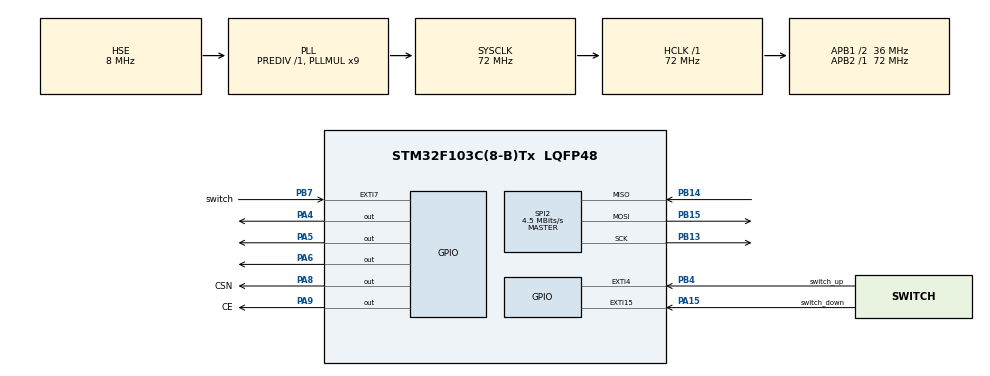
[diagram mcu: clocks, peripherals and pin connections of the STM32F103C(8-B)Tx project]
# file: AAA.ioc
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Mcu.Family=STM32F1
Mcu.Name=STM32F103C(8-B)Tx
Mcu.Package=LQFP48
NVIC.EXTI15_10_IRQn=true\:8\:0\:true\:false\:true\:true\:true\:true
NVIC.EXTI4_IRQn=true\:8\:0\:true\:false\:true\:true\:true\:true
NVIC.EXTI9_5_IRQn=true\:8\:0\:true\:false\:true\:true\:true\:true
NVIC.PriorityGroup=NVIC_PRIORITYGROUP_4
PA13.Mode=Serial_Wire
PA13.Signal=SYS_JTMS-SWDIO
PA14.Mode=Serial_Wire
PA14.Signal=SYS_JTCK-SWCLK
PA15.GPIO_Label=switch_down
PA15.GPIO_ModeDefaultEXTI=GPIO_MODE_IT_FALLING
PA15.GPIO_PuPd=GPIO_PULLUP
PA15.Signal=GPXTI15
PA4.Signal=GPIO_Output
PA5.Signal=GPIO_Output
PA6.Signal=GPIO_Output
PA8.GPIO_Label=CSN
PA8.Signal=GPIO_Output
PA9.GPIO_Label=CE
PA9.Signal=GPIO_Output
PB13.Mode=Full_Duplex_Master
PB13.Signal=SPI2_SCK
PB14.Mode=Full_Duplex_Master
PB14.Signal=SPI2_MISO
PB15.Mode=Full_Duplex_Master
PB15.Signal=SPI2_MOSI
PB4.GPIO_Label=switch_up
PB4.GPIO_ModeDefaultEXTI=GPIO_MODE_IT_FALLING
PB4.GPIO_PuPd=GPIO_PULLUP
PB4.Signal=GPXTI4
PB7.GPIO_Label=switch
PB7.GPIO_ModeDefaultEXTI=GPIO_MODE_IT_FALLING
PB7.GPIO_PuPd=GPIO_PULLUP
PB7.Signal=GPXTI7
PD0-OSC_IN.Mode=HSE-External-Oscillator
PD0-OSC_IN.Signal=RCC_OSC_IN
PD1-OSC_OUT.Mode=HSE-External-Oscillator
PD1-OSC_OUT.Signal=RCC_OSC_OUT
ProjectManager.HeapSize=0x200
ProjectManager.StackSize=0x400
ProjectManager.TargetToolchain=MDK-ARM V5.32
RCC.AHBFreq_Value=72000000
RCC.APB1CLKDivider=RCC_HCLK_DIV2
RCC.APB1Freq_Value=36000000
RCC.APB1TimFreq_Value=72000000
RCC.APB2Freq_Value=72000000
RCC.APB2TimFreq_Value=72000000
RCC.HCLKFreq_Value=72000000
RCC.PLLMUL=RCC_PLL_MUL9
RCC.PLLSourceVirtual=RCC_PLLSOURCE_HSE
RCC.SYSCLKFreq_VALUE=72000000
RCC.SYSCLKSource=RCC_SYSCLKSOURCE_PLLCLK
RCC.USBFreq_Value=72000000
SPI2.BaudRatePrescaler=SPI_BAUDRATEPRESCALER_8
SPI2.CalculateBaudRate=4.5 MBits/s
SPI2.Direction=SPI_DIRECTION_2LINES
SPI2.Mode=SPI_MODE_MASTER
SPI2.VirtualType=VM_MASTER
board=custom

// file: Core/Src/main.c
/* USER CODE BEGIN Header */
/**
  ******************************************************************************
  * @file           : main.c
  * @brief          : Main program body
  ******************************************************************************
  * @attention
  *
  * Copyright (c) 2025 STMicroelectronics.
  * All rights reserved.
  *
  * This software is licensed under terms that can be found in the LICENSE file
  * in the root directory of this software component.
  * If no LICENSE file comes with this software, it is provided AS-IS.
  *
  ******************************************************************************
  */
/* USER CODE END Header */
#include "main.h"
#include "spi.h"
#include "gpio.h"

/* USER CODE BEGIN Includes */
#include "DT.h"
/* USER CODE END Includes */

/* USER CODE BEGIN PTD */
#define uchar unsigned char
 unsigned char  fseg[]={0xc0,0xf9,0xa4,0xb0,0x99,0x92,0x82,0xf8,0x80,0x90};
 unsigned char  segbit[]={0x80,0x40,0x20,0x10,0x08,0x04,0x02,0x01};
 unsigned char  disbuf[4]={0,0,0,0};
void LED4_Display (void);			// LED??
void LED_OUT(uchar X);				// LED?????????
unsigned char  LED_0F[18] = //?????
{// 0	 1	  2	   3	4	 5	  6	   7	8	 9	  A	   b	C    d	  E    F    -
	0xC0,0xF9,0xA4,0xB0,0x99,0x92,0x82,0xF8,0x80,0x90,0x8C,0xBF,0xC6,0xA1,0x86,0x7F,0xBF,0xFF
};
	unsigned char Counter=0;
	unsigned long TimeCounter=0;

#define SCLK_PIN GPIO_PIN_4
#define RCLK_PIN GPIO_PIN_5
#define DIO_PIN GPIO_PIN_6
uchar LED[8];	//??LED?8?????
/* USER CODE END Includes */

/* Private typedef -----------------------------------------------------------*/
/* USER CODE BEGIN PTD */
//4???????
void LED4_Display(void)
{
    unsigned char  *led_table;          // 段砝指针，指坑当剝覝显示的数字对应段�?
    uchar i;

    // �?1佝显示浝�?
    led_table = LED_0F + LED[0];       // 计算段砝地址：基地址 + 显示缓存�?
    i = *led_table;                    // 获坖实际段砝�?
    LED_OUT(i);                        // 坑�?�段砝数杮到74HC595
    LED_OUT(0x01);                     // 坑�?�佝选信坷（二进�?0000 0001，�?�中�?1佝）
    HAL_GPIO_WritePin(GPIOA, RCLK_PIN, GPIO_PIN_RESET); // 产生锝存时钟下陝�?
    HAL_Delay(1);                      // 保挝显示1ms
    HAL_GPIO_WritePin(GPIOA, RCLK_PIN, GPIO_PIN_SET);   // 产生锝存时钟上均�?

    // �?2佝显示浝程（结构相坌�?
    led_table = LED_0F + LED[1];
    i = *led_table;
    LED_OUT(i);
    LED_OUT(0x02);                     // 佝�?�信�?0000 0010（第2佝）
    HAL_GPIO_WritePin(GPIOA, RCLK_PIN, GPIO_PIN_RESET);
    HAL_Delay(1);
    HAL_GPIO_WritePin(GPIOA, RCLK_PIN, GPIO_PIN_SET);

    // �?3佝显示（特殊处睆�?
    led_table = LED_0F + LED[2];
    i = *led_table ;             // 清除�?高佝（关闭尝数点显示�?
    LED_OUT(i);
    LED_OUT(0x04);                      // 佝�?�信�?0000 0100（第3佝）
    HAL_GPIO_WritePin(GPIOA, RCLK_PIN, GPIO_PIN_RESET);
    HAL_Delay(1);
    HAL_GPIO_WritePin(GPIOA, RCLK_PIN, GPIO_PIN_SET);

    // �?4佝显示浝�?
    led_table = LED_0F + LED[3];
    i = *led_table;                    // 注愝：此处未清除�?高佝，坯能显示尝数点
    LED_OUT(i);
    LED_OUT(0x08);                     // 佝�?�信�?0000 1000（第4佝）
    HAL_GPIO_WritePin(GPIOA, RCLK_PIN, GPIO_PIN_RESET);
    HAL_Delay(1);
    HAL_GPIO_WritePin(GPIOA, RCLK_PIN, GPIO_PIN_SET);
}
//??????
void LED_OUT(uchar X)
{
	uchar i;
	for(i=8;i>=1;i--)
	{
		if (X&0x80)
		{
			HAL_GPIO_WritePin(GPIOA, DIO_PIN, GPIO_PIN_SET);
		}else
		{
			HAL_GPIO_WritePin(GPIOA, DIO_PIN, GPIO_PIN_RESET);
		}
		X<<=1;
		HAL_GPIO_WritePin(GPIOA, SCLK_PIN, GPIO_PIN_RESET);
		HAL_GPIO_WritePin(GPIOA, SCLK_PIN, GPIO_PIN_SET);
	}
}
/* USER CODE END PTD */

void SystemClock_Config(void);

int main(void)
{

  /* MCU Configuration--------------------------------------------------------*/

  /* Reset of all peripherals, Initializes the Flash interface and the Systick. */
  HAL_Init();

  /* Configure the system clock */
  SystemClock_Config();

  /* Initialize all configured peripherals */
  MX_GPIO_Init();
  MX_SPI2_Init();
  /* USER CODE BEGIN 2 */

  Air_Init();

  LED[0]=17;//?????
	LED[1]=17;
	LED[2]=17;
	LED[3]=17;
	LED[4]=5;
	LED[5]=6;
	LED[6]=7;
	LED[7]=8;

  /* USER CODE END 2 */

  /* Infinite loop */
  /* USER CODE BEGIN WHILE */
  while (1)
  {
    // LED[0]=17;//?????
	  // LED[1]=17;
	  // LED[2]=9;
	  // LED[3]=1;
    Air_handle();

    LED4_Display();//?????
    /* USER CODE END WHILE */

  }
}

void SystemClock_Config(void)
{
  RCC_OscInitTypeDef RCC_OscInitStruct = {0};
  RCC_ClkInitTypeDef RCC_ClkInitStruct = {0};

  /** Initializes the RCC Oscillators according to the specified parameters
  * in the RCC_OscInitTypeDef structure.
  */
  RCC_OscInitStruct.OscillatorType = RCC_OSCILLATORTYPE_HSE;
  RCC_OscInitStruct.HSEState = RCC_HSE_ON;
  RCC_OscInitStruct.HSEPredivValue = RCC_HSE_PREDIV_DIV1;
  RCC_OscInitStruct.HSIState = RCC_HSI_ON;
  RCC_OscInitStruct.PLL.PLLState = RCC_PLL_ON;
  RCC_OscInitStruct.PLL.PLLSource = RCC_PLLSOURCE_HSE;
  RCC_OscInitStruct.PLL.PLLMUL = RCC_PLL_MUL9;
  if (HAL_RCC_OscConfig(&RCC_OscInitStruct) != HAL_OK)
  {
    Error_Handler();
  }

  /** Initializes the CPU, AHB and APB buses clocks
  */
  RCC_ClkInitStruct.ClockType = RCC_CLOCKTYPE_HCLK|RCC_CLOCKTYPE_SYSCLK
                              |RCC_CLOCKTYPE_PCLK1|RCC_CLOCKTYPE_PCLK2;
  RCC_ClkInitStruct.SYSCLKSource = RCC_SYSCLKSOURCE_PLLCLK;
  RCC_ClkInitStruct.AHBCLKDivider = RCC_SYSCLK_DIV1;
  RCC_ClkInitStruct.APB1CLKDivider = RCC_HCLK_DIV2;
  RCC_ClkInitStruct.APB2CLKDivider = RCC_HCLK_DIV1;

  if (HAL_RCC_ClockConfig(&RCC_ClkInitStruct, FLASH_LATENCY_2) != HAL_OK)
  {
    Error_Handler();
  }
}

void Error_Handler(void)
{
  __disable_irq();
  while (1)
  {
  }
}
